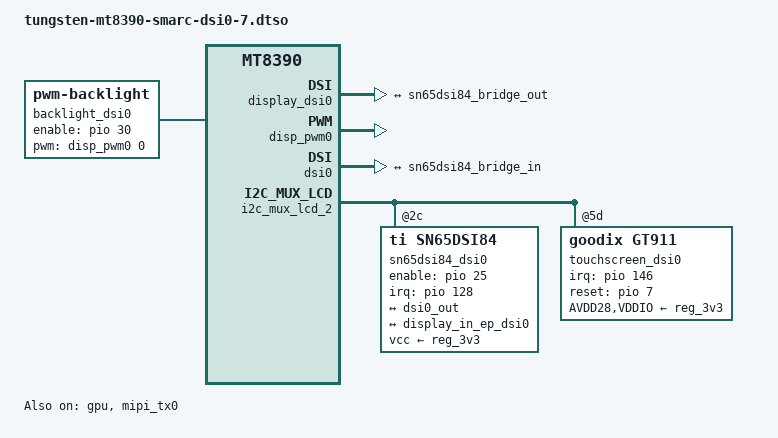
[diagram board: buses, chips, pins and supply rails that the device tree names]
// SPDX-License-Identifier: (GPL-2.0-or-later OR MIT)
/*
 * Copyright 2026 Ezurio LLC
 */

/dts-v1/;
/plugin/;

#include <dt-bindings/gpio/gpio.h>
#include <dt-bindings/interrupt-controller/irq.h>
#include <dt-bindings/pinctrl/mediatek,mt8188-pinfunc.h>

#include "tungsten-mt8390-bd-panel.dtsi"


&{/} {
	backlight_dsi0: backlight-dsi0 {
		compatible = "pwm-backlight";
		brightness-levels = <0 1 2 3 4 5 6 7 8 9 10>;
		default-brightness-level = <8>;

		enable-gpios = <&pio 30 GPIO_ACTIVE_HIGH>;

		pwms = <&disp_pwm0 0 30000>;
	};

	display_dsi0: display-dsi0 {
		compatible = "panel-lvds";
		data-mapping = "vesa-24";

		backlight = <&backlight_dsi0>;

		width-mm = <150>;
		height-mm = <94>;

		panel-timing {
			BD_PANEL_TIMING
		};

		port {
			display_in_ep_dsi0: endpoint {
				remote-endpoint = <&sn65dsi84_bridge_out>;
			};
		};
	};
};

&disp_pwm0 {
	pinctrl-names = "default";
	pinctrl-0 = <&disp_pwm0_pins>;
	status = "okay";
};

&gpu {
	status = "okay";
};

&mipi_tx0 {
	status = "okay";
};


&dsi0 {
	status = "okay";

	port {
		dsi0_out: endpoint {
			remote-endpoint = <&sn65dsi84_bridge_in>;
		};
	};
};

&i2c_mux_lcd_2 {
	#address-cells = <1>;
	#size-cells = <0>;

	sn65dsi84_dsi0: sn65dsi84-dsi0@2c {
		compatible = "ti,sn65dsi84";
		reg = <0x2c>;

		pinctrl-names = "default";
		pinctrl-0 = <&dsi0_sn65dsi84_pins>;
		interrupts-extended = <&pio 128 IRQ_TYPE_EDGE_FALLING>;
		interrupt-names = "irq";

		vcc-supply = <&reg_3v3>;
		enable-gpios = <&pio 25 GPIO_ACTIVE_HIGH>;

		ports {
			#address-cells = <1>;
			#size-cells = <0>;

			port@0 {
				reg = <0>;

				sn65dsi84_bridge_in: endpoint {
					remote-endpoint = <&dsi0_out>;
					data-lanes = <1 2 3 4>;
				};
			};

			port@2 {
				reg = <2>;

				sn65dsi84_bridge_out: endpoint {
					remote-endpoint = <&display_in_ep_dsi0>;
				};
			};
		};
	};

	touchscreen_dsi0: touchscreen-dsi0@5d {
		compatible = "goodix,gt911";
		reg = <0x5d>;

		AVDD28-supply = <&reg_3v3>;
		VDDIO-supply = <&reg_3v3>;

		pinctrl-names = "default";
		pinctrl-0 = <&ts_dsi0_goodix_pins>;
		interrupts-extended = <&pio 146 IRQ_TYPE_LEVEL_HIGH>;
		interrupt-names = "irq";
		irq-gpios = <&pio 146 GPIO_ACTIVE_HIGH>;
		reset-gpios = <&pio 7 GPIO_ACTIVE_HIGH>;

		touchscreen-min-x = <0>;
		touchscreen-min-y = <0>;
		touchscreen-size-x = <1280>;
		touchscreen-size-y = <800>;
	};
};

&pio {
	disp_pwm0_pins: disp-pwm0-pins {
		pins {
			pinmux = <PINMUX_GPIO29__FUNC_O_DISP_PWM0>;
			bias-pull-down;
		};
	};

	dsi0_sn65dsi84_pins: dsi0-sn65dsi84-pins {
		pins-enable {
			pinmux = <PINMUX_GPIO25__FUNC_B_GPIO25>;
			bias-pull-down;
		};

		pins-irq {
			pinmux = <PINMUX_GPIO128__FUNC_B_GPIO128>;
			bias-pull-up;
			input-enable;
		};
	};

	ts_dsi0_goodix_pins: ts-dsi0-goodix-pins {
		pins-irq {
			pinmux = <PINMUX_GPIO146__FUNC_B_GPIO146>;
			bias-pull-up = <MTK_PUPD_SET_R1R0_01>;
			input-enable;
		};

		pins-reset {
			pinmux = <PINMUX_GPIO7__FUNC_B_GPIO7>;
			bias-pull-down;
		};
	};
};
